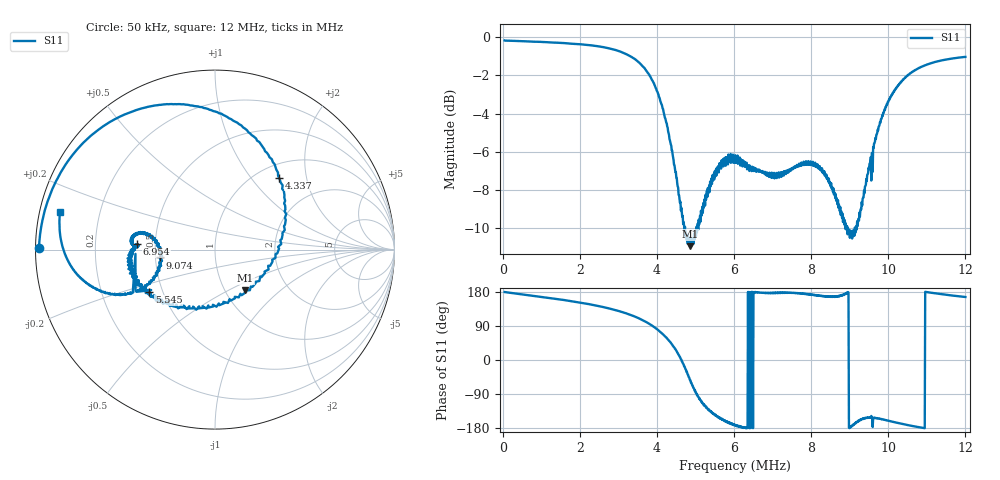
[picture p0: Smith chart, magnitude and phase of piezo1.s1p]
# Hz S RI R 50
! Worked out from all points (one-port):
!   1010 points, 50 kHz to 12 MHz, reference 50 ohm
!   lowest |S11| = -11.0 dB at 4.858 MHz (marker M1), VSWR 1.79, Z = 62.1 - j30.6 ohm
!   |S11| at or under -10 dB: 4.729 MHz to 5.023 MHz (293.2 kHz wide, 6.01 % of centre); 8.935 MHz to 9.133 MHz (198.1 kHz wide, 2.19 % of centre); 9.13444 MHz to 9.159721 MHz (25.28 kHz wide, 0.276 % of centre)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
!   S11 on the Smith chart (normalised r, x): 50 kHz: 0.01, +0.01; 4.337 MHz: 1.24, +1.39; 5.545 MHz: 0.42, -0.24; 6.954 MHz: 0.39, +0.03; 9.074 MHz: 0.53, -0.05; 12 MHz: 0.06, +0.12
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50000  -0.9813 0.0102
1554043  -0.9013 0.3486
2406743  -0.7685 0.5576
3046186  -0.5673 0.7215
3437086  -0.3594 0.7983
3827829  -0.0525 0.7875
4076529  0.1785 0.6651
4337129  0.3559 0.4016
4538429  0.3844 0.1313
4692429  0.3206 -0.0664
4858172  0.1695 -0.2269
5142472  -0.1043 -0.3349
5545072  -0.3655 -0.2347
5770072  -0.4604 -0.148
6030715  -0.486 -0.0673
6303015  -0.4601 -0.000429
6954415  -0.4356 0.0301
7522858  -0.4502 0.0229
8043958  -0.4667 0.0667
8494001  -0.4036 0.0978
9015101  -0.3103 -0.0191
9074301  -0.308 -0.0434
9358501  -0.3408 -0.1687
9713844  -0.5024 -0.2518
1.010464e7  -0.68 -0.2123
1.050734e7  -0.7862 -0.1141
1.114689e7  -0.8567 0.0455
1.199959e7  -0.8631 0.2111
